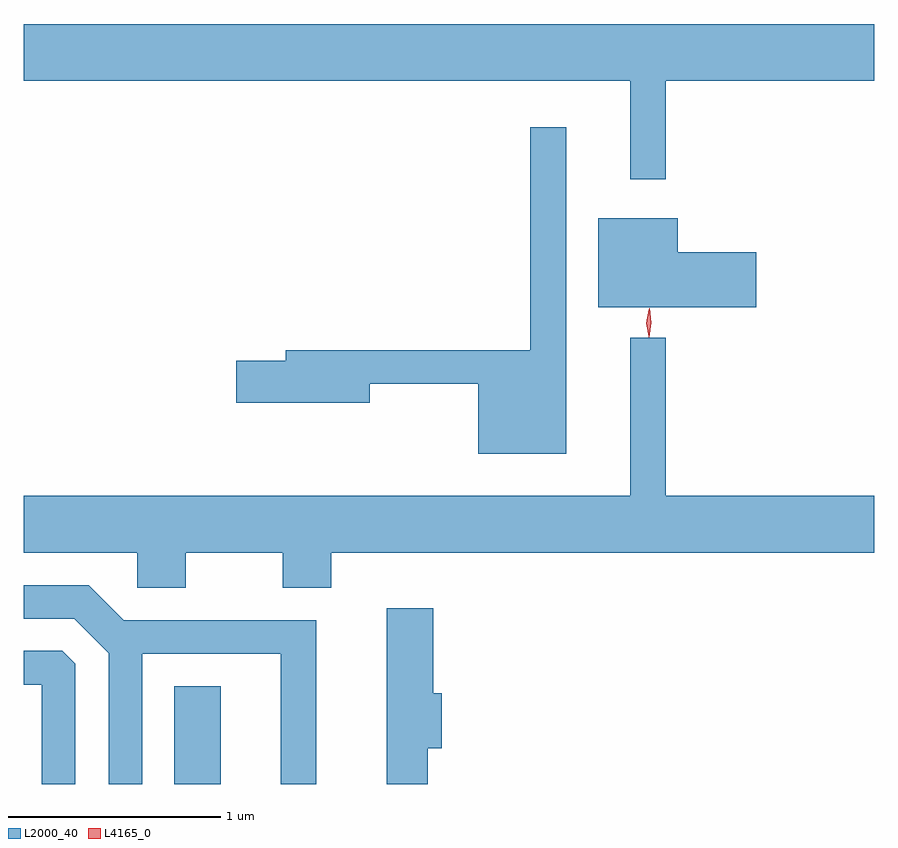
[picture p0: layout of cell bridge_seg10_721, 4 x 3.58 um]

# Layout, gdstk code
import gdstk
lib = gdstk.Library(unit=1e-6, precision=1e-09)
def R(c, l, rs):  # rectangles x0, y0, x1, y1
    for r in rs: c.add(gdstk.rectangle(r[:2], r[2:], *l))
def P(c, l, *ps):  # polygons
    for p in ps: c.add(gdstk.Polygon(p, *l))
L2000_40 = (2000, 40)
L4165_0 = (4165, 0)

bridge_seg10_721 = lib.new_cell('bridge_seg10_721')
R(bridge_seg10_721, L2000_40, [(510.606,2148.348,510.824,2148.809)])
P(bridge_seg10_721, L2000_40, [(512.919,2151.656),(513.898,2151.656),(513.898,2151.924),(509.898,2151.924),(509.898,2151.656),(512.751,2151.656),(512.751,2151.193),(512.919,2151.193)],
  [(512.449,2151.438),(512.281,2151.438),(512.281,2150.389),(511.131,2150.389),(511.131,2150.339),(510.896,2150.339),(510.896,2150.141),(511.524,2150.141),(511.524,2150.231),(512.036,2150.231),(512.036,2149.901),(512.449,2149.901)],
  [(513.344,2150.849),(512.974,2150.849),(512.974,2151.009),(512.601,2151.009),(512.601,2150.591),(513.344,2150.591)],
  [(513.898,2149.704),(512.919,2149.704),(512.919,2150.448),(512.751,2150.448),(512.751,2149.704),(509.898,2149.704),(509.898,2149.436),(510.431,2149.436),(510.431,2149.271),(510.659,2149.271),(510.659,2149.436),(511.116,2149.436),(511.116,2149.271),(511.344,2149.271),(511.344,2149.436),(513.898,2149.436)],
  [(510.454,2148.961),(511.106,2148.961),(511.106,2148.348),(511.274,2148.348),(511.274,2149.119),(510.367,2149.119),(510.202,2149.284),(509.898,2149.284),(509.898,2149.126),(510.134,2149.126),(510.296,2148.964),(510.296,2148.348),(510.454,2148.348)],
  [(511.799,2148.516),(511.864,2148.516),(511.864,2148.774),(511.824,2148.774),(511.824,2149.174),(511.606,2149.174),(511.606,2148.348),(511.799,2148.348)],
  [(510.139,2148.914),(510.079,2148.974),(509.898,2148.974),(509.898,2148.816),(509.981,2148.816),(509.981,2148.348),(510.139,2148.348)])
P(bridge_seg10_721, L4165_0, [(512.839,2150.45),(512.83,2150.518),(512.841,2150.586),(512.841,2150.586),(512.842,2150.586),(512.85,2150.518),(512.84,2150.45),(512.84,2150.45)],
  [(512.837,2150.453),(512.837,2150.454),(512.827,2150.516),(512.837,2150.579),(512.837,2150.58),(512.838,2150.579),(512.847,2150.516),(512.838,2150.454)])

lib.write_gds('bridge_seg10_721.gds')
